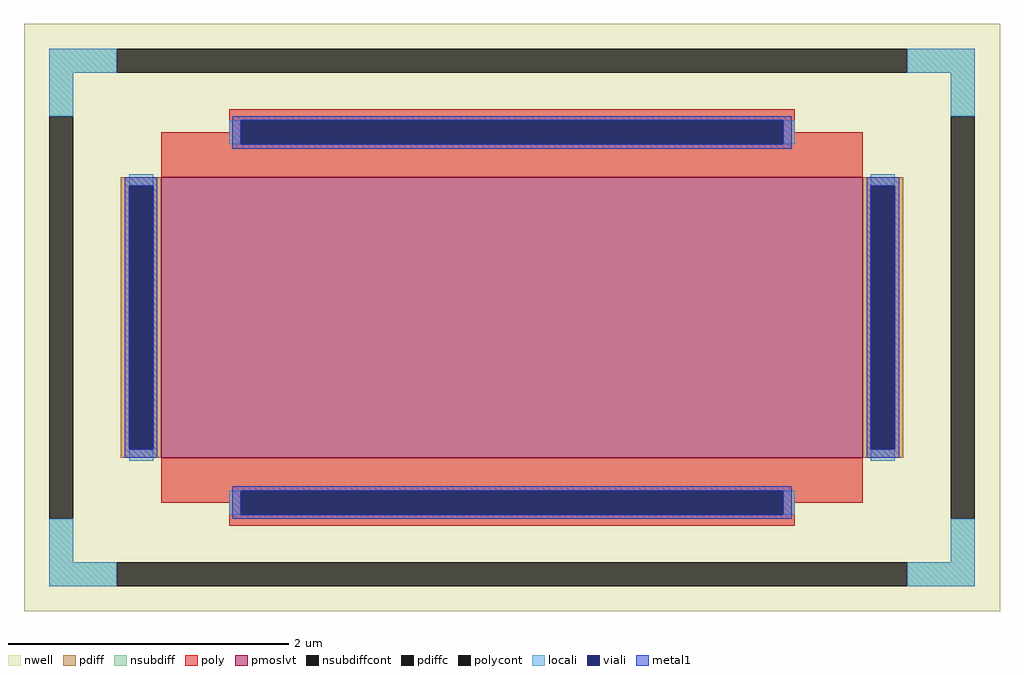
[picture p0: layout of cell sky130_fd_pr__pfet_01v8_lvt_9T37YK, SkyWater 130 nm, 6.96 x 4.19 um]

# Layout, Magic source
magic
tech sky130B
magscale 1 2
<< nwell >>
rect -696 -419 696 419
<< pmoslvt >>
rect -500 -200 500 200
<< pdiff >>
rect -558 188 -500 200
rect -558 -188 -546 188
rect -512 -188 -500 188
rect -558 -200 -500 -188
rect 500 188 558 200
rect 500 -188 512 188
rect 546 -188 558 188
rect 500 -200 558 -188
<< pdiffc >>
rect -546 -188 -512 188
rect 512 -188 546 188
<< nsubdiff >>
rect -660 349 -564 383
rect 564 349 660 383
rect -660 287 -626 349
rect 626 287 660 349
rect -660 -349 -626 -287
rect 626 -349 660 -287
rect -660 -383 -564 -349
rect 564 -383 660 -349
<< nsubdiffcont >>
rect -564 349 564 383
rect -660 -287 -626 287
rect 626 -287 660 287
rect -564 -383 564 -349
<< poly >>
rect -403 281 403 297
rect -403 264 -387 281
rect -500 247 -387 264
rect 387 264 403 281
rect 387 247 500 264
rect -500 200 500 247
rect -500 -247 500 -200
rect -500 -264 -387 -247
rect -403 -281 -387 -264
rect 387 -264 500 -247
rect 387 -281 403 -264
rect -403 -297 403 -281
<< polycont >>
rect -387 247 387 281
rect -387 -281 387 -247
<< locali >>
rect -660 349 -564 383
rect 564 349 660 383
rect -660 287 -626 349
rect 626 287 660 349
rect -403 247 -387 281
rect 387 247 403 281
rect -546 188 -512 204
rect -546 -204 -512 -188
rect 512 188 546 204
rect 512 -204 546 -188
rect -403 -281 -387 -247
rect 387 -281 403 -247
rect -660 -349 -626 -287
rect 626 -349 660 -287
rect -660 -383 -564 -349
rect 564 -383 660 -349
<< viali >>
rect -387 247 387 281
rect -546 -188 -512 188
rect 512 -188 546 188
rect -387 -281 387 -247
<< metal1 >>
rect -399 281 399 287
rect -399 247 -387 281
rect 387 247 399 281
rect -399 241 399 247
rect -552 188 -506 200
rect -552 -188 -546 188
rect -512 -188 -506 188
rect -552 -200 -506 -188
rect 506 188 552 200
rect 506 -188 512 188
rect 546 -188 552 188
rect 506 -200 552 -188
rect -399 -247 399 -241
rect -399 -281 -387 -247
rect 387 -281 399 -247
rect -399 -287 399 -281
<< properties >>
string FIXED_BBOX -643 -366 643 366
string gencell sky130_fd_pr__pfet_01v8_lvt
string library sky130
string parameters w 2 l 5 m 1 nf 1 diffcov 100 polycov 80 guard 1 glc 1 grc 1 gtc 1 gbc 1 tbcov 100 rlcov 100 topc 1 botc 1 poverlap 0 doverlap 1 lmin 0.15 wmin 0.42 compatible {sky130_fd_pr__pfet_01v8  sky130_fd_pr__pfet_01v8_lvt sky130_fd_pr__pfet_01v8_hvt  sky130_fd_pr__pfet_g5v0d10v5} full_metal 1 viasrc 100 viadrn 100 viagate 80 viagb 0 viagr 0 viagl 0 viagt 0
<< end >>
